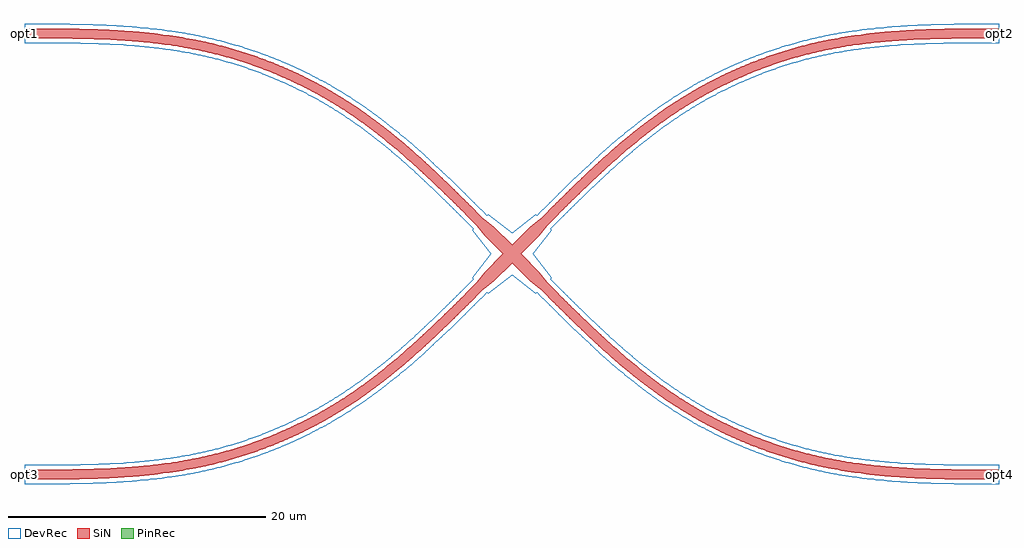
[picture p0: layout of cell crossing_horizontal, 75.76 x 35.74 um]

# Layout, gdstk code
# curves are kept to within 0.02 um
import gdstk
lib = gdstk.Library(unit=1e-6, precision=1e-09)
def P(c, l, *ps):  # polygons
    for p in ps: c.add(gdstk.Polygon(p, *l))
PinRec = (1, 10)
SiN = (4, 0)
DevRec = (68, 0)

crossing_horizontal = lib.new_cell('crossing_horizontal')
P(crossing_horizontal, SiN, [(-37.83,-17.495),(-37.83,-16.745),(-33.587,-16.717),(-30.257,-16.583),(-27.456,-16.326),(-26.192,-16.152),(-24.811,-15.911),(-22.681,-15.423),(-20.83,-14.877),(-18.895,-14.178),(-17.006,-13.361),(-16.081,-12.91),(-14.946,-12.306),(-13.071,-11.18),(-11.389,-10.02),(-9.475,-8.529),(-7.541,-6.854),(-5.391,-4.834),(-2.74,-2.21),(-2.121,-1.414),(-0.707,0),(-2.121,1.414),(-2.74,2.21),(-5.391,4.834),(-7.541,6.854),(-9.475,8.529),(-11.389,10.02),(-13.071,11.18),(-14.946,12.306),(-16.081,12.91),(-17.006,13.361),(-18.895,14.178),(-20.83,14.877),(-22.681,15.423),(-24.811,15.911),(-26.192,16.152),(-27.456,16.326),(-30.257,16.583),(-33.587,16.717),(-37.83,16.745),(-37.83,17.495),(-34.089,17.476),(-31.114,17.383),(-28.528,17.197),(-26.078,16.893),(-23.767,16.459),(-22.744,16.214),(-21.476,15.864),(-19.355,15.158),(-17.285,14.314),(-15.391,13.398),(-13.444,12.299),(-11.687,11.154),(-9.909,9.84),(-8.302,8.523),(-6.559,6.973),(-4.406,4.922),(-2.21,2.74),(-1.414,2.121),(0,0.707),(1.414,2.121),(2.21,2.74),(4.406,4.922),(6.559,6.973),(8.302,8.523),(9.909,9.84),(11.687,11.154),(13.444,12.299),(15.391,13.398),(17.285,14.314),(19.355,15.158),(21.476,15.864),(22.744,16.214),(23.767,16.459),(26.078,16.893),(28.528,17.197),(31.114,17.383),(34.089,17.476),(37.83,17.495),(37.83,16.745),(33.587,16.717),(30.257,16.583),(27.456,16.326),(26.192,16.152),(24.811,15.911),(22.681,15.423),(20.83,14.877),(18.895,14.178),(17.006,13.361),(16.081,12.91),(14.946,12.306),(13.071,11.18),(11.389,10.02),(9.475,8.529),(7.541,6.854),(5.391,4.834),(2.74,2.21),(2.121,1.414),(0.707,0),(2.121,-1.414),(2.74,-2.21),(5.391,-4.834),(7.541,-6.854),(9.475,-8.529),(11.389,-10.02),(13.071,-11.18),(14.946,-12.306),(16.081,-12.91),(17.006,-13.361),(18.895,-14.178),(20.83,-14.877),(22.681,-15.423),(24.811,-15.911),(26.192,-16.152),(27.456,-16.326),(30.257,-16.583),(33.587,-16.717),(37.83,-16.745),(37.83,-17.495),(34.089,-17.476),(31.114,-17.383),(28.528,-17.197),(26.078,-16.893),(23.767,-16.459),(22.744,-16.214),(21.476,-15.864),(19.355,-15.158),(17.285,-14.314),(15.391,-13.398),(13.444,-12.299),(11.687,-11.154),(9.909,-9.84),(8.302,-8.523),(6.559,-6.973),(4.406,-4.922),(2.21,-2.74),(1.414,-2.121),(0,-0.707),(-1.414,-2.121),(-2.21,-2.74),(-4.406,-4.922),(-6.559,-6.973),(-8.302,-8.523),(-9.909,-9.84),(-11.687,-11.154),(-13.444,-12.299),(-15.391,-13.398),(-17.285,-14.314),(-19.355,-15.158),(-21.476,-15.864),(-22.744,-16.214),(-23.767,-16.459),(-26.078,-16.893),(-28.528,-17.197),(-31.114,-17.383),(-34.089,-17.476)])
P(crossing_horizontal, DevRec, [(-37.83,-17.87),(-37.83,-16.37),(-33.594,-16.342),(-30.662,-16.232),(-29.267,-16.134),(-27.753,-15.984),(-25.502,-15.658),(-23.269,-15.186),(-22.041,-14.857),(-20.826,-14.481),(-18.679,-13.687),(-17.628,-13.235),(-16.478,-12.69),(-14.466,-11.599),(-12.641,-10.445),(-10.902,-9.186),(-9.033,-7.668),(-7.792,-6.576),(-6.575,-5.449),(-3.005,-1.945),(-3.094,-1.856),(-1.649,0),(-3.094,1.856),(-3.005,1.945),(-6.575,5.449),(-7.792,6.576),(-9.033,7.668),(-10.902,9.186),(-12.641,10.445),(-14.466,11.599),(-16.478,12.69),(-17.628,13.235),(-18.679,13.687),(-20.826,14.481),(-22.041,14.857),(-23.269,15.186),(-25.502,15.658),(-27.753,15.984),(-29.267,16.134),(-30.662,16.232),(-33.594,16.342),(-37.83,16.37),(-37.83,17.87),(-34.083,17.851),(-31.226,17.764),(-28.492,17.57),(-26.28,17.303),(-23.946,16.882),(-21.753,16.335),(-20.734,16.028),(-19.475,15.601),(-17.498,14.817),(-15.454,13.853),(-13.591,12.825),(-12.016,11.833),(-10.302,10.614),(-8.558,9.23),(-6.593,7.513),(-4.608,5.642),(-1.944,3.006),(-1.856,3.094),(0,1.649),(1.856,3.094),(1.944,3.006),(4.608,5.642),(6.593,7.513),(8.558,9.23),(10.302,10.614),(12.016,11.833),(13.591,12.825),(15.454,13.853),(17.498,14.817),(19.475,15.601),(20.734,16.028),(21.753,16.335),(23.946,16.882),(26.28,17.303),(28.492,17.57),(31.226,17.764),(34.083,17.851),(37.83,17.87),(37.83,16.37),(33.594,16.342),(30.662,16.232),(29.267,16.134),(27.753,15.984),(25.502,15.658),(23.269,15.186),(22.041,14.857),(20.826,14.481),(18.679,13.687),(17.628,13.235),(16.478,12.69),(14.466,11.599),(12.641,10.445),(10.902,9.186),(9.033,7.668),(7.792,6.576),(6.575,5.449),(3.005,1.945),(3.094,1.856),(1.649,0),(3.094,-1.856),(3.005,-1.945),(6.575,-5.449),(7.792,-6.576),(9.033,-7.668),(10.902,-9.186),(12.641,-10.445),(14.466,-11.599),(16.478,-12.69),(17.628,-13.235),(18.679,-13.687),(20.826,-14.481),(22.041,-14.857),(23.269,-15.186),(25.502,-15.658),(27.753,-15.984),(29.267,-16.134),(30.662,-16.232),(33.594,-16.342),(37.83,-16.37),(37.83,-17.87),(34.083,-17.851),(31.226,-17.764),(28.492,-17.57),(26.28,-17.303),(23.946,-16.882),(21.753,-16.335),(20.734,-16.028),(19.475,-15.601),(17.498,-14.817),(15.454,-13.853),(13.591,-12.825),(12.016,-11.833),(10.302,-10.614),(8.558,-9.23),(6.593,-7.513),(4.608,-5.642),(1.944,-3.006),(1.856,-3.094),(0,-1.649),(-1.856,-3.094),(-1.944,-3.006),(-4.608,-5.642),(-6.593,-7.513),(-8.558,-9.23),(-10.302,-10.614),(-12.016,-11.833),(-13.591,-12.825),(-15.454,-13.853),(-17.498,-14.817),(-19.475,-15.601),(-20.734,-16.028),(-21.753,-16.335),(-23.946,-16.882),(-26.28,-17.303),(-28.492,-17.57),(-31.226,-17.764),(-34.083,-17.851)])
crossing_horizontal.add(gdstk.FlexPath([(-37.78,17.12),(-37.88,17.12)], 0.75, ends="flush", simple_path=True, layer=1, datatype=10))  # PinRec
crossing_horizontal.add(gdstk.FlexPath([(37.78,17.12),(37.88,17.12)], 0.75, ends="flush", simple_path=True, layer=1, datatype=10))  # PinRec
crossing_horizontal.add(gdstk.FlexPath([(37.78,-17.12),(37.88,-17.12)], 0.75, ends="flush", simple_path=True, layer=1, datatype=10))  # PinRec
crossing_horizontal.add(gdstk.FlexPath([(-37.78,-17.12),(-37.88,-17.12)], 0.75, ends="flush", simple_path=True, layer=1, datatype=10))  # PinRec
crossing_horizontal.add(gdstk.Label('opt1', (-37.83,17.12), layer=1, texttype=10))
crossing_horizontal.add(gdstk.Label('opt2', (37.83,17.12), layer=1, texttype=10))
crossing_horizontal.add(gdstk.Label('opt4', (37.83,-17.12), layer=1, texttype=10))
crossing_horizontal.add(gdstk.Label('opt3', (-37.83,-17.12), layer=1, texttype=10))

lib.write_gds('crossing_horizontal.gds')
